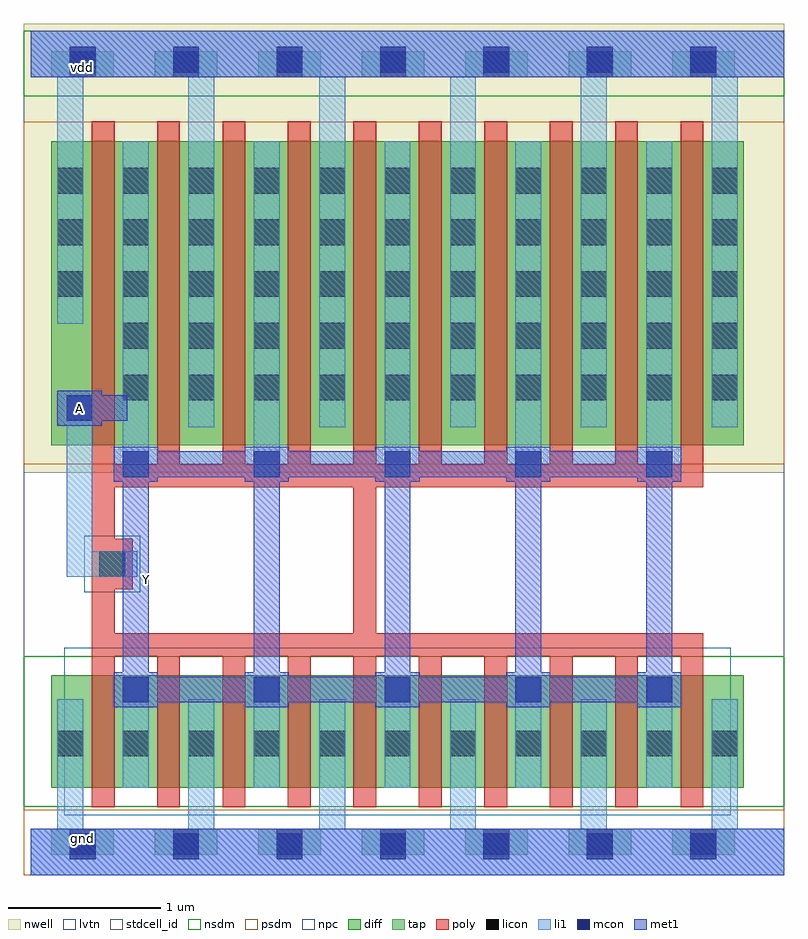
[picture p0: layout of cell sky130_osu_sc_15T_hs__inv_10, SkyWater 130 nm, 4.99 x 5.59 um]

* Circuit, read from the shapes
.subckt sky130_osu_sc_15T_hs__inv_10 A Y gnd vdd
XM1 Y A gnd gnd sky130_fd_pr__nfet_01v8_lvt w=0.74 l=0.15 m=10
XM2 Y A vdd vdd sky130_fd_pr__pfet_01v8 w=2 l=0.15 m=10
.ends

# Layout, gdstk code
import gdstk
lib = gdstk.Library(unit=1e-6, precision=1e-09)
def R(c, l, rs):  # rectangles x0, y0, x1, y1
    for r in rs: c.add(gdstk.rectangle(r[:2], r[2:], *l))
def A(c, l, x, y, w, h, nx, ny, dx, dy):  # array of equal rectangles
    R(c, l, [(x+i*dx, y+j*dy, x+i*dx+w, y+j*dy+h) for i in range(nx) for j in range(ny)])
nwell = (64, 20)
diff = (65, 20)
tap = (65, 44)
poly = (66, 20)
licon = (66, 44)
li1 = (67, 20)
mcon = (67, 44)
met1 = (68, 20)
stdcell_id = (81, 4)
nsdm = (93, 44)
psdm = (94, 20)
npc = (95, 20)
lvtn = (125, 44)

sky130_osu_sc_15t_hs__in = lib.new_cell('sky130_osu_sc_15T_hs__inv_10')
R(sky130_osu_sc_15t_hs__in, nwell, [(-0.045,2.645,4.95,5.595)])
R(sky130_osu_sc_15t_hs__in, diff, [(0.135,0.575,4.685,1.315), (0.135,2.825,4.685,4.825)])
A(sky130_osu_sc_15t_hs__in, tap, 0.135, 0.135, 0.41, 0.17, 7, 2, 0.68, 5.11)
A(sky130_osu_sc_15t_hs__in, poly, 0.4, 0.445, 0.15, 0.995, 10, 1, 0.43, 0)
A(sky130_osu_sc_15t_hs__in, poly, 0.4, 2.7, 0.15, 2.255, 10, 1, 0.43, 0)
R(sky130_osu_sc_15t_hs__in, poly, [(0.4,1.44,4.42,1.59), (0.4,1.59,0.55,1.88), (2.12,1.59,2.27,2.55), (0.4,1.88,0.67,2.21), (0.4,2.21,0.55,2.55), (0.4,2.55,4.42,2.7)])
A(sky130_osu_sc_15t_hs__in, licon, 0.255, 0.135, 0.17, 0.17, 7, 2, 0.68, 5.11)
A(sky130_osu_sc_15t_hs__in, licon, 0.175, 0.78, 0.17, 0.17, 11, 2, 0.43, 3.02)
A(sky130_osu_sc_15t_hs__in, licon, 0.605, 3.12, 0.17, 0.17, 10, 2, 0.43, 0.34)
A(sky130_osu_sc_15t_hs__in, licon, 0.175, 4.14, 0.17, 0.17, 11, 2, 0.43, 0.34)
R(sky130_osu_sc_15t_hs__in, licon, [(0.45,1.96,0.62,2.13)])
A(sky130_osu_sc_15t_hs__in, li1, 0.175, 0.305, 0.17, 0.85, 6, 1, 0.86, 0)
A(sky130_osu_sc_15t_hs__in, li1, 0.605, 0.575, 0.17, 0.73, 5, 1, 0.86, 0)
A(sky130_osu_sc_15t_hs__in, li1, 0.605, 2.615, 0.17, 2.21, 5, 1, 0.86, 0)
A(sky130_osu_sc_15t_hs__in, li1, 1.035, 2.945, 0.17, 2.3, 5, 1, 0.86, 0)
R(sky130_osu_sc_15t_hs__in, li1, [(0,0,4.95,0.305), (0.235,1.96,0.7,2.13), (0.235,2.13,0.405,3.155), (0.175,3.625,0.345,5.245), (0,5.245,4.95,5.55)])
A(sky130_osu_sc_15t_hs__in, mcon, 0.255, 0.105, 0.17, 0.17, 7, 2, 0.68, 5.17)
A(sky130_osu_sc_15t_hs__in, mcon, 0.605, 1.135, 0.17, 0.17, 5, 2, 0.86, 1.48)
R(sky130_osu_sc_15t_hs__in, mcon, [(0.235,2.985,0.405,3.155)])
A(sky130_osu_sc_15t_hs__in, met1, 0.545, 1.105, 0.29, 0.03, 5, 2, 0.86, 0.2)
A(sky130_osu_sc_15t_hs__in, met1, 0.605, 1.335, 0.17, 1.25, 5, 1, 0.86, 0)
A(sky130_osu_sc_15t_hs__in, met1, 0.545, 2.585, 0.29, 0.03, 5, 2, 0.86, 0.2)
R(sky130_osu_sc_15t_hs__in, met1, [(0,0,4.95,0.305), (0.545,1.135,4.275,1.305), (0.545,2.615,4.275,2.785), (0.175,2.955,0.465,2.985), (0.175,2.985,0.635,3.155), (0.175,3.155,0.465,3.185), (0,5.245,4.95,5.55)])
R(sky130_osu_sc_15t_hs__in, stdcell_id, [(-0.045,0,4.95,5.55)])
R(sky130_osu_sc_15t_hs__in, nsdm, [(-0.045,0.45,4.95,1.44), (-0.045,5.12,4.95,5.55)])
R(sky130_osu_sc_15t_hs__in, psdm, [(-0.045,0,4.95,0.43), (-0.045,2.7,4.95,4.95)])
R(sky130_osu_sc_15t_hs__in, npc, [(0.35,1.86,0.72,2.23)])
R(sky130_osu_sc_15t_hs__in, lvtn, [(0.22,0.395,4.6,1.495)])
sky130_osu_sc_15t_hs__in.add(gdstk.Label('gnd', (0.34,0.24), layer=68, texttype=16))
sky130_osu_sc_15t_hs__in.add(gdstk.Label('vdd', (0.34,5.31), layer=68, texttype=16))
sky130_osu_sc_15t_hs__in.add(gdstk.Label('Y', (0.76,1.94), layer=68, texttype=5))
sky130_osu_sc_15t_hs__in.add(gdstk.Label('A', (0.32,3.065), layer=68, texttype=5))

lib.write_gds('sky130_osu_sc_15T_hs__inv_10.gds')
